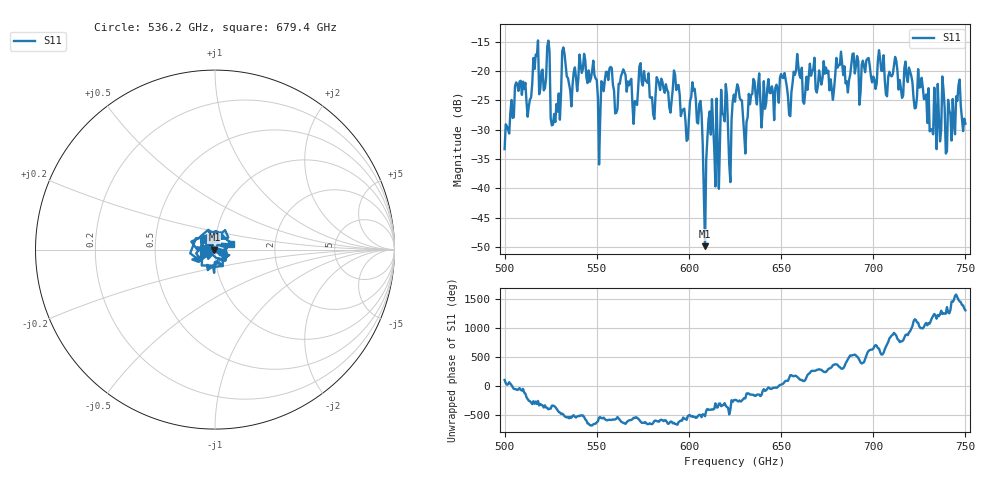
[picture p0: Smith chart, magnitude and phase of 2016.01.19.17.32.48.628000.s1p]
!Created with skrf (http://scikit-rf.org).
# GHz S RI R 50.0
!freq ReS11 ImS11
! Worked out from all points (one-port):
!   401 points, 500 GHz to 750 GHz, reference 50 ohm
!   lowest |S11| = -49.8 dB at 608.8 GHz (marker M1), VSWR 1.01, Z = 49.7 - j0.122 ohm
!   |S11| at or under -10 dB: start of sweep to end of sweep
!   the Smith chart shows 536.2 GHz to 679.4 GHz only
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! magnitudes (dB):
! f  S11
! 500 GHz  -33.3
! 506.9 GHz  -22.3
! 513.1 GHz  -26.1
! 516.9 GHz  -17.2
! 523.1 GHz  -15.9
! 526.2 GHz  -29.1
! 531.2 GHz  -16.6
! 548.8 GHz  -20.7
! 551.9 GHz  -28.0
! 556.2 GHz  -21.6
! 562.5 GHz  -22.2
! 593.8 GHz  -22.5
! 598.8 GHz  -31.9
! 602.5 GHz  -23.3
! 608.8 GHz  -49.8
! 611.2 GHz  -26.9
! 615 GHz  -24.7
! 618.8 GHz  -27.5
! 622.5 GHz  -38.9
! 625 GHz  -25.2
! 630.6 GHz  -34.1
! 635 GHz  -21.4
! 656.2 GHz  -22.0
! 687.5 GHz  -20.7
! 718.8 GHz  -21.9
! 731.2 GHz  -29.9
! 746.2 GHz  -22.4
! 750 GHz  -29.0
